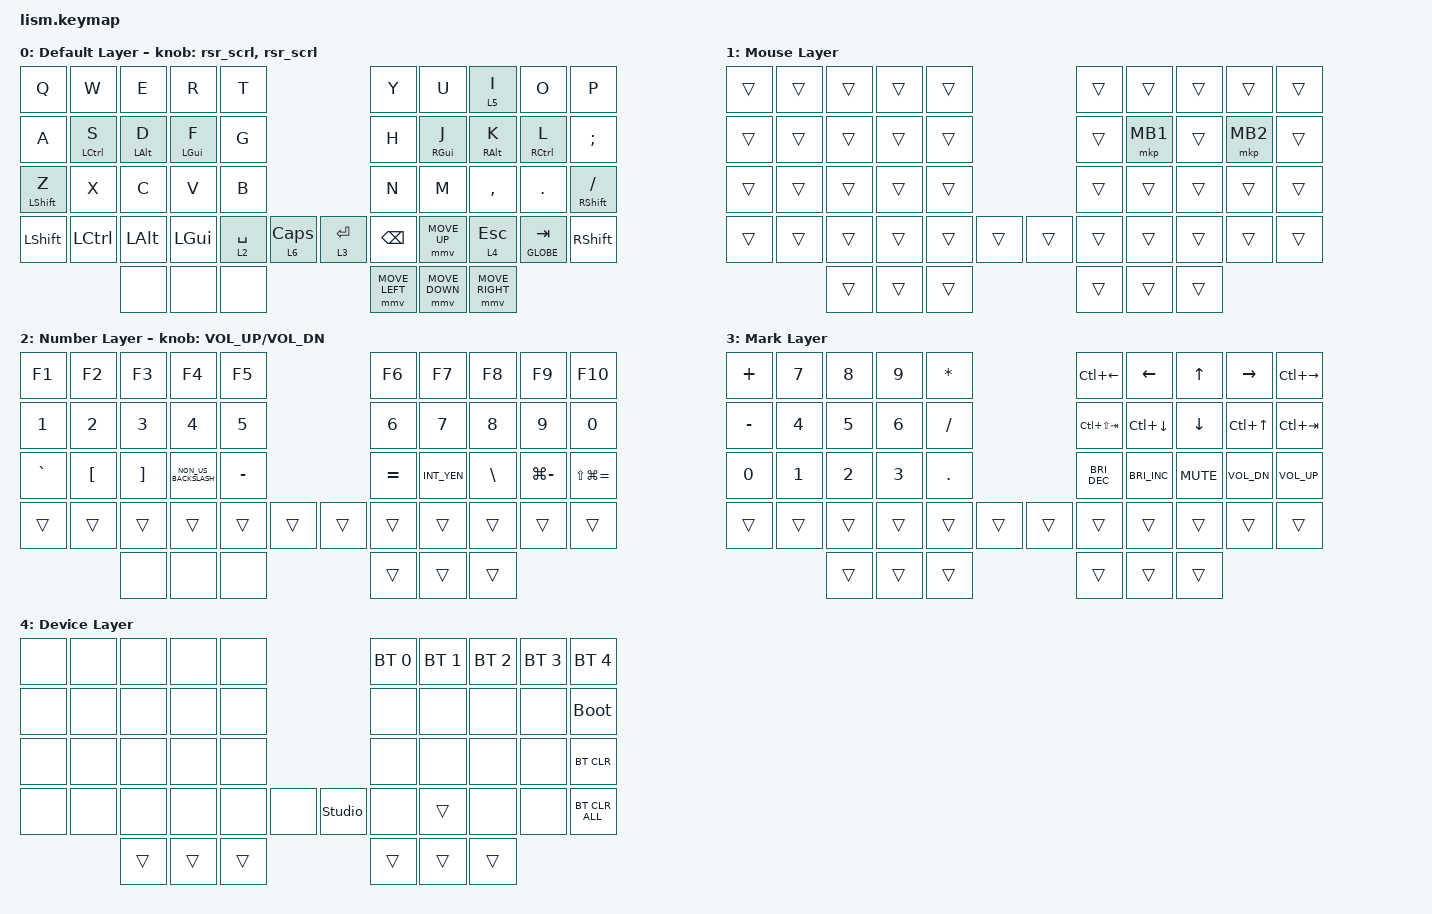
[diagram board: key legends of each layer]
#define ZMK_POINTING_DEFAULT_SCRL_VAL 200

#include <dt-bindings/zmk/mouse.h>
#include <behaviors/runtime-sensor-rotate.dtsi>
#include <behaviors/default_layer.dtsi>
#include <dt-bindings/zmk_behavior_default_layer/default_layer.h>
#include <behaviors.dtsi>
#include <dt-bindings/zmk/bt.h>
#include <dt-bindings/zmk/keys.h>
#include <dt-bindings/zmk/pointing.h>

&mt {
    tapping-term-ms = <300>;
    flavor = "balanced";
};

&lt { quick-tap-ms = <300>; };

/ {
    macros {
        emoji: emoji_macro {
            compatible = "zmk,behavior-macro";
            label = "EMOJI";
            #binding-cells = <0>;
            bindings =
                <&macro_press>,
                <&kp CAPSLOCK>,
                <&macro_tap>,
                <&kp E>,
                <&macro_release>,
                <&kp CAPSLOCK>;
        };
    };

    behaviors {
        encoder_kp: sensor_rotate_kp {
            compatible = "zmk,behavior-sensor-rotate-var";
            #sensor-binding-cells = <2>;
            bindings = <&kp>, <&kp>;
        };

        rsr_scrl: rsr_scrl {
            compatible = "zmk,behavior-runtime-sensor-rotate";
            #sensor-binding-cells = <0>;
            tap-ms = <20>;
            cw-binding = <&msc SCRL_DOWN>;
            ccw-binding = <&msc SCRL_UP>;
        };
    };

    combos {
        compatible = "zmk,combos";

        Escape {
            bindings = <&kp ESC>;
            key-positions = <0 1>;
        };

        Tab {
            bindings = <&kp TAB>;
            key-positions = <1 2>;
        };

        Increase {
            bindings = <&kp LS(LG(EQUAL))>;
            key-positions = <8 9>;
        };

        Decrease {
            bindings = <&kp LG(MINUS)>;
            key-positions = <7 8>;
        };
    };

    keymap {
        compatible = "zmk,keymap";

        default_layer {
            display-name = "Default Layer";
            bindings = <
&kp Q             &kp W               &kp E           &kp R         &kp T                                    &kp Y           &kp U           &lt 5 I          &kp O                &kp P
&kp A             &mt LEFT_CONTROL S  &mt LEFT_ALT D  &mt LGUI F    &kp G                                    &kp H           &mt RGUI J      &mt RIGHT_ALT K  &mt RIGHT_CONTROL L  &kp SEMICOLON
&mt LEFT_SHIFT Z  &kp X               &kp C           &kp V         &kp B                                    &kp N           &kp M           &kp COMMA        &kp DOT              &mt RIGHT_SHIFT SLASH
&kp LEFT_SHIFT    &kp LEFT_CONTROL    &kp LEFT_ALT    &kp LEFT_GUI  &lt 2 SPACE  &lt 6 CAPS    &lt 3 RETURN  &kp BACKSPACE   &mmv MOVE_UP    &lt 4 ESC        &mt GLOBE TAB        &kp RIGHT_SHIFT
                                      &none           &none         &none                                    &mmv MOVE_LEFT  &mmv MOVE_DOWN  &mmv MOVE_RIGHT
            >;

            sensor-bindings = <&rsr_scrl &rsr_scrl>;
        };

        Mouse {
            display-name = "Mouse Layer";
            bindings = <
&trans  &trans  &trans  &trans  &trans                    &trans  &trans    &trans  &trans    &trans
&trans  &trans  &trans  &trans  &trans                    &trans  &mkp MB1  &trans  &mkp MB2  &trans
&trans  &trans  &trans  &trans  &trans                    &trans  &trans    &trans  &trans    &trans
&trans  &trans  &trans  &trans  &trans  &trans    &trans  &trans  &trans    &trans  &trans    &trans
                &trans  &trans  &trans                    &trans  &trans    &trans
            >;
        };

        Number {
            display-name = "Number Layer";
            bindings = <
&kp F1        &kp F2            &kp F3             &kp F4                &kp F5                          &kp F6        &kp F7       &kp F8         &kp F9         &kp F10
&kp NUMBER_1  &kp NUMBER_2      &kp NUMBER_3       &kp NUMBER_4          &kp NUMBER_5                    &kp NUMBER_6  &kp N7       &kp N8         &kp N9         &kp N0
&kp GRAVE     &kp LEFT_BRACKET  &kp RIGHT_BRACKET  &kp NON_US_BACKSLASH  &kp MINUS                       &kp EQUAL     &kp INT_YEN  &kp BACKSLASH  &kp LG(MINUS)  &kp LS(LG(EQUAL))
&trans        &trans            &trans             &trans                &trans        &trans    &trans  &trans        &trans       &trans         &trans         &trans
                                &none              &none                 &none                           &trans        &trans       &trans
            >;

            sensor-bindings = <&encoder_kp C_VOL_UP C_VOL_DN>;
        };

        Mark {
            display-name = "Mark Layer";
            bindings = <
&kp PLUS      &kp NUMBER_7  &kp NUMBER_8  &kp NUMBER_9  &kp ASTERISK                    &kp LC(LEFT)          &kp LEFT              &kp UP_ARROW    &kp RIGHT         &kp LC(RIGHT)
&kp MINUS     &kp NUMBER_4  &kp NUMBER_5  &kp NUMBER_6  &kp SLASH                       &kp LC(LS(TAB))       &kp LC(DOWN)          &kp DOWN_ARROW  &kp LC(UP_ARROW)  &kp LC(TAB)
&kp NUMBER_0  &kp NUMBER_1  &kp NUMBER_2  &kp NUMBER_3  &kp PERIOD                      &kp C_BRIGHTNESS_DEC  &kp C_BRIGHTNESS_INC  &kp C_MUTE      &kp C_VOL_DN      &kp C_VOLUME_UP
&trans        &trans        &trans        &trans        &trans        &trans    &trans  &trans                &trans                &trans          &trans            &trans
                            &trans        &trans        &trans                          &trans                &trans                &trans
            >;
        };

        BLE {
            display-name = "Device Layer";
            bindings = <
&none  &none  &none   &none   &none                            &bt BT_SEL 0  &bt BT_SEL 1  &bt BT_SEL 2  &bt BT_SEL 3  &bt BT_SEL 4
&none  &none  &none   &none   &none                            &none         &none         &none         &none         &bootloader
&none  &none  &none   &none   &none                            &none         &none         &none         &none         &bt BT_CLR
&none  &none  &none   &none   &none   &none    &studio_unlock  &none         &trans        &none         &none         &bt BT_CLR_ALL
              &trans  &trans  &trans                           &trans        &trans        &trans
            >;
        };

        Scroll {
            status = "reserved";
            display-name = "SCROLL Layer";
            bindings = <
&trans  &trans  &trans  &trans  &trans                    &trans  &trans  &trans  &trans  &trans
&trans  &trans  &trans  &trans  &trans                    &trans  &trans  &trans  &trans  &trans
&trans  &trans  &trans  &trans  &trans                    &trans  &trans  &trans  &trans  &trans
&trans  &trans  &trans  &trans  &trans  &trans    &trans  &trans  &trans  &trans  &trans  &trans
                &trans  &trans  &trans                    &trans  &trans  &trans
            >;
        };

        Function {
            status = "reserved";
            display-name = "Function Layer";
            bindings = <
&kp LA(LC(E))  &kp LA(LC(R))  &kp LA(LC(T))  &kp LA(LC(U))  &kp LA(LC(I))                    &kp PLUS   &kp NUMBER_7  &kp N8     &kp N9   &kp ASTERISK
&kp LA(LC(D))  &kp LA(LC(F))  &kp LA(LC(G))  &kp LA(LC(J))  &kp LA(LC(K))                    &kp MINUS  &kp N4        &kp N5     &kp N6   &kp FSLH
&trans         &trans         &trans         &trans         &trans                           &kp N0     &kp N1        &kp N2     &kp N3   &kp DOT
&trans         &trans         &trans         &trans         &trans         &trans    &trans  &trans     &trans        &kp COMMA  &kp DOT  &kp EQUAL
                              &trans         &trans         &trans                           &trans     &trans        &trans
            >;
        };

        layer_7 {
            status = "reserved";
            display-name = "Brank Layer";
            bindings = <
&trans  &trans  &trans  &trans  &trans                    &trans  &trans  &trans  &trans  &trans
&trans  &trans  &trans  &trans  &trans                    &trans  &trans  &trans  &trans  &trans
&trans  &trans  &trans  &trans  &trans                    &trans  &trans  &trans  &trans  &trans
&trans  &trans  &trans  &trans  &trans  &trans    &trans  &trans  &trans  &trans  &trans  &trans
                &trans  &trans  &trans                    &trans  &trans  &trans
            >;
        };
    };
};
